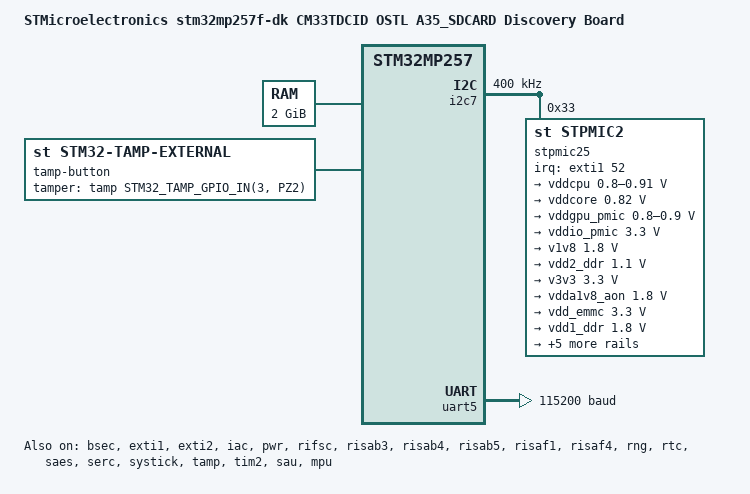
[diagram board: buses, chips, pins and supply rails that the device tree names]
/*
 * Copyright (c) 2026, STMicroelectronics - All Rights Reserved
 *
 * SPDX-License-Identifier: Apache-2.0
 */

/dts-v1/;

#include <dt-bindings/clock/stm32mp25-clksrc.h>
#include <dt-bindings/power/stm32mp25-power.h>
#include <dt-bindings/regulator/stm32mp25-regulator.h>
#include <dt-bindings/regulator/st,stpmic2.h>
#include <dt-bindings/reset/st,stm32mp25-rcc.h>
#include <dt-bindings/rif/stm32mp25-rif.h>
#include <dt-bindings/rif/stm32mp2-rifsc.h>
#include <dt-bindings/rif/stm32mp25-rifsc.h>
#include <dt-bindings/rif/stm32mp2-risaf.h>
#include <dt-bindings/rif/stm32mp25-risab.h>
#include <dt-bindings/tamp/st,stm32mp25-tamp.h>
#include <dt-bindings/gpio/st,stm32mp25-tamp-gpio.h>
#include <dt-bindings/memory-attr/memory-attr-arm.h>

#include "stm32mp257.dtsi"
#include "stm32mp25xf.dtsi"
#include "stm32mp257f-dk-cm33tdcid-resmem.dtsi"
#include "stm32mp257f-dk-cm33tdcid-rcc.dtsi"
#include "stm32mp257f-dk-cm33tdcid-s-rif.dtsi"
#include "stm32mp25-pinctrl.dtsi"
#include "stm32mp25xxai-pinctrl.dtsi"

/ {
	model = "STMicroelectronics stm32mp257f-dk CM33TDCID OSTL A35_SDCARD Discovery Board";
	compatible = "st,stm32mp257f-dk-cm33tdcid-ostl-sdcard", "st,stm32mp257f-dk", "st,stm32mp257";

	aliases {
		serial0 = &uart5;
	};

	chosen {
		stdout-device = &uart5;
		tfm,entropy = &rng;
		tfm,watchdog = &iwdg3;
	};

	memory@80000000 {
		device_type = "memory";
		reg = <0x80000000 0x80000000>;
	};
};

&nvram {
	status = "okay";
};

&bsec {
	memory-region = <&bsec_mirror>;
	status = "okay";
};

&exti1 {
	status = "okay";
};

&exti2 {
	status = "okay";
};

&hconf1_otp {
	shadow-provisionning = <0x00018db6>;
};

&hpdma1 {
	status = "okay";
};

&hpdma2 {
	status = "okay";
};

&hpdma3 {
	status = "okay";
};

&i2c7 {
	pinctrl-names = "default", "sleep";
	pinctrl-0 = <&i2c7_pins_a>;
	pinctrl-1 = <&i2c7_sleep_pins_a>;
	i2c-scl-rising-time-ns = <185>;
	i2c-scl-falling-time-ns = <20>;
	clock-frequency = <400000>;
	status = "okay";

	#address-cells = <1>;
	#size-cells = <0>;

	stpmic25: pmic@33 {
		compatible = "st,stpmic2";
		reg = <0x33>;
		interrupts-extended = <&exti1 52 IRQ_TYPE_EDGE_FALLING>;
		interrupt-controller;
		#interrupt-cells = <1>;
		status = "okay";

		regulators {
			compatible = "st,stpmic2-regulators";

			vddcpu: buck1 {
				regulator-name = "vddcpu";
				regulator-min-microvolt = <800000>;
				regulator-max-microvolt = <910000>;
				regulator-always-on;
				st,pwrctrl-sel = <2>;
				st,pwrctrl-enable;

				default {
					regulator-off-in-suspend;
				};
				lplv {
					regulator-off-in-suspend;
				};
				standby {
					regulator-off-in-suspend;
				};
				off {
					regulator-off-in-suspend;
				};
			};
			vddcore: buck2 {
				regulator-name = "vddcore";
				regulator-min-microvolt = <820000>;
				regulator-max-microvolt = <820000>;
				regulator-always-on;
				st,pwrctrl-sel = <1>;
				st,pwrctrl-enable;

				default {
					regulator-on-in-suspend;
					regulator-suspend-microvolt = <820000>;
				};
				lplv {
					regulator-on-in-suspend;
					regulator-suspend-microvolt = <670000>;
				};
				standby {
					regulator-off-in-suspend;
				};
				off {
					regulator-off-in-suspend;
				};
			};
			vddgpu_pmic: buck3 {
				regulator-name = "vddgpu_pmic";
				regulator-min-microvolt = <800000>;
				regulator-max-microvolt = <900000>;
				regulator-over-current-protection;

				standby {
					regulator-off-in-suspend;
				};
				off {
					regulator-off-in-suspend;
				};
			};
			vddio_pmic: buck4 {
				regulator-name = "vddio_pmic";
				regulator-min-microvolt = <3300000>;
				regulator-max-microvolt = <3300000>;
				regulator-always-on;
				st,mask-reset;
				st,pwrctrl-sel = <1>;
				st,pwrctrl-enable;

				default {
					regulator-on-in-suspend;
					regulator-suspend-microvolt = <3300000>;
				};
				lplv {
					regulator-on-in-suspend;
					regulator-suspend-microvolt = <3300000>;
				};
				standby {
					regulator-on-in-suspend;
					regulator-suspend-microvolt = <3300000>;
				};
				off {
					regulator-on-in-suspend;
					regulator-suspend-microvolt = <3300000>;
				};
			};
			v1v8: buck5 {
				regulator-name = "v1v8";
				regulator-min-microvolt = <1800000>;
				regulator-max-microvolt = <1800000>;
				regulator-always-on;
				st,pwrctrl-sel = <1>;
				st,pwrctrl-enable;

				default {
					regulator-on-in-suspend;
					regulator-suspend-microvolt = <1800000>;
				};
				lplv {
					regulator-on-in-suspend;
					regulator-suspend-microvolt = <1800000>;
				};
				standby {
					regulator-off-in-suspend;
				};
				off {
					regulator-off-in-suspend;
				};
			};
			vdd2_ddr: buck6 {
				regulator-name = "vdd2_ddr";
				regulator-min-microvolt = <1100000>;
				regulator-max-microvolt = <1100000>;
				regulator-always-on;
				st,pwrctrl-sel = <1>;
				st,pwrctrl-enable;

				default {
					regulator-on-in-suspend;
					regulator-suspend-microvolt = <1100000>;
				};
				lplv {
					regulator-on-in-suspend;
					regulator-suspend-microvolt = <1100000>;
				};
				standby {
					regulator-on-in-suspend;
					regulator-suspend-microvolt = <1100000>;
				};
				off {
					regulator-off-in-suspend;
				};
			};
			v3v3: buck7 {
				regulator-name = "v3v3";
				regulator-min-microvolt = <3300000>;
				regulator-max-microvolt = <3300000>;
				regulator-always-on;
				regulator-over-current-protection;
				st,pwrctrl-sel = <1>;
				st,pwrctrl-enable;

				default {
					regulator-on-in-suspend;
					regulator-suspend-microvolt = <3300000>;
				};
				lplv {
					regulator-on-in-suspend;
					regulator-suspend-microvolt = <3300000>;
				};
				standby {
					regulator-off-in-suspend;
				};
				off {
					regulator-off-in-suspend;
				};
			};
			vdda1v8_aon: ldo1 {
				regulator-name = "vdda1v8_aon";
				regulator-min-microvolt = <1800000>;
				regulator-max-microvolt = <1800000>;
				regulator-always-on;
				st,alternate-input-source;
				st,mask-reset;
			};
			vdd_emmc: ldo2 {
				regulator-name = "vdd_emmc";
				regulator-min-microvolt = <3300000>;
				regulator-max-microvolt = <3300000>;
				regulator-over-current-protection;
				st,pwrctrl-sel = <3>;
				st,pwrctrl-reset;
			};
			vdd1_ddr: ldo3 {
				regulator-name = "vdd1_ddr";
				regulator-min-microvolt = <1800000>;
				regulator-max-microvolt = <1800000>;
				regulator-always-on;
				st,pwrctrl-sel = <1>;
				st,pwrctrl-enable;

				default {
					regulator-on-in-suspend;
					regulator-suspend-microvolt = <1800000>;
				};
				lplv {
					regulator-on-in-suspend;
					regulator-suspend-microvolt = <1800000>;
				};
				standby {
					regulator-on-in-suspend;
					regulator-suspend-microvolt = <1800000>;
				};
				off {
					regulator-off-in-suspend;
				};
			};
			vdd3v3_usb: ldo4 {
				regulator-name = "vdd3v3_usb";
				regulator-min-microvolt = <3300000>;
				regulator-max-microvolt = <3300000>;
				regulator-over-current-protection;

				standby {
					regulator-off-in-suspend;
				};
				off {
					regulator-off-in-suspend;
				};
			};
			v5v_hdmi: ldo5 {
				regulator-name = "v5v_hdmi";
				regulator-min-microvolt = <5000000>;
				regulator-max-microvolt = <5000000>;
				st,regulator-bypass-microvolt = <5000000>;
				st,pwrctrl-sel = <0>;
				st,pwrctrl-enable;
			};
			v5v_vconn: ldo6 {
				regulator-name = "v5v_vconn";
				regulator-min-microvolt = <4000000>;
				regulator-max-microvolt = <4000000>;
				regulator-always-on;
				st,regulator-bypass-microvolt = <4000000>;
				st,pwrctrl-sel = <0>;
				st,pwrctrl-reset;
			};
			vdd_sdcard: ldo7 {
				regulator-name = "vdd_sdcard";
				regulator-min-microvolt = <3300000>;
				regulator-max-microvolt = <3300000>;
				regulator-over-current-protection;
				st,regulator-bypass-microvolt = <3300000>;
				st,pwrctrl-sel = <3>;
				st,pwrctrl-reset;
			};
			vddio_sdcard: ldo8 {
				regulator-name = "vddio_sdcard";
				regulator-min-microvolt = <1800000>;
				regulator-max-microvolt = <3300000>;
				regulator-over-current-protection;
				st,regulator-bypass-microvolt = <3300000>;
				st,pwrctrl-sel = <3>;
				st,pwrctrl-reset;
			};
		};
	};
};

&iac {
	status = "okay";
};

&iwdg3 {
	/* If the watchdog is started the NS application must ping watchdog */
	/*status = "okay";*/
	timeout-sec = <120>;
};

&pwr {
	status = "okay";

	pwr_intc: interrupt-controller {
		status = "okay";
	};

	pwr_rif: access-controller {
		status = "okay";
	};

	regulators {
		status = "okay";

		vdd33ucpd: vdd33ucpd {
			status = "okay";
			regulator-min-microvolt = <3300000>;
			regulator-max-microvolt = <3300000>;
			vin-supply = <&vdd3v3_usb>;
			regulator-always-on;
		};

		vdda18adc: vdda18adc {
			status = "okay";
			regulator-min-microvolt = <1800000>;
			regulator-max-microvolt = <1800000>;
			vin-supply = <&v1v8>;
			regulator-always-on;
		};

		vddgpu: vddgpu {
			status = "okay";
			vin-supply = <&vddgpu_pmic>;
		};

		vddio1: vddio1 {
			status = "okay";
			regulator-min-microvolt = <1800000>;
			regulator-max-microvolt = <3300000>;
			vin-supply = <&vddio_sdcard>;
		};

		vddio2: vddio2 {
			status = "okay";
			vin-supply = <&v1v8>;
			regulator-always-on;
		};

		vddio3: vddio3 {
			status = "okay";
			vin-supply = <&vddio_pmic>;
			regulator-always-on;
		};

		vddio4: vddio4 {
			status = "okay";
			vin-supply = <&vddio_pmic>;
			regulator-always-on;
		};

		vddio: vddio {
			status = "okay";
			vin-supply = <&vddio_pmic>;
		};
	};
};

&ramcfg {
	status = "okay";
};

&rifsc {
	status = "okay";
};

&risab3 {
	status = "okay";
};

&risab4 {
	status = "okay";
};

&risab5 {
	status = "okay";
};

&risaf1 {
	status = "okay";
};

&risaf4 {
	status = "okay";
};

&rng {
	status = "okay";
};

&rtc {
	status = "okay";
};

&saes {
	status = "okay";
};

&serc {
	status = "okay";
};

&systick {
	clocks = <&rcc CK_ICN_HS_MCU>;
	clock-frequency = <1000000>; /* tick at 1us */
	status = "okay";
};

&tamp {
	status = "okay";
	st,tamp-passive-precharge = <2>;
	st,tamp-passive-nb-sample = <4>;
	st,tamp-passive-sample-clk-div = <16384>;
	st,tamp-active-filter = <1>;
	st,tamp-active-clk-div = <2048>;

	tamp-button {
		compatible = "st,stm32-tamp-external";
		tamper-gpios = <&tamp STM32_TAMP_GPIO_IN(3, PZ2) 0>;
		st,tamp-mode = <TAMPER_CONFIRMED_MODE>;
		st,tamp-id = <3>;
		status = "okay";
	};
};

&tim2 {
	status = "okay";
};

&uart5 {
	pinctrl-names = "default", "sleep";
	pinctrl-0 = <&uart5_pins_a>;
	pinctrl-1 = <&uart5_sleep_pins_a>;
	clocks = <&rcc CK_KER_UART5>;
	current-speed = <115200>;
	status = "okay";
};

&sau {
	memory-region = <&peripheral_ns>, <&cm33_cube_fw>, <&cm33_cube_data>, <&ltdc_m33_layer>, <&fwu_shmem>;
	status = "okay";
};

&mpu {
	status = "okay";
};

&syscfg {
	st,reg-init = <STM32MP25_SYSCFG_ICNE2EBWRCR 0x00000051>,
		      <STM32MP25_SYSCFG_ICNGPUBWLCR 0x00004009>,
		      <STM32MP25_SYSCFG_ICNQPCR2 0x2149865A>,
		      <STM32MP25_SYSCFG_ICNCPU1BWLCR 0x00005002>;
};
